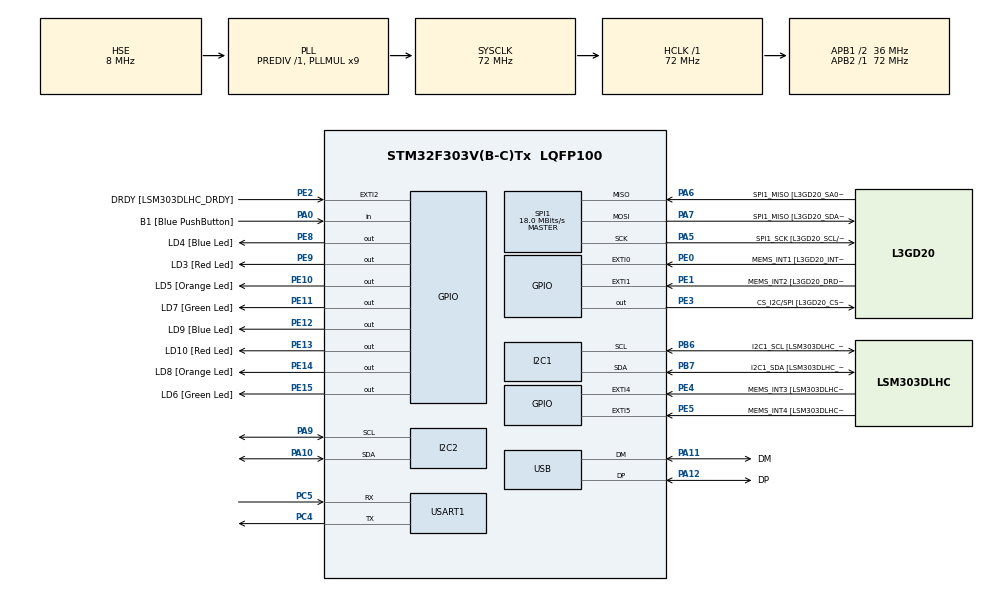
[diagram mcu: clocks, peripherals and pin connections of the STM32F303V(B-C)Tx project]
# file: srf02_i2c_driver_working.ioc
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I2C1.Timing-I2C=0x2000090E
Mcu.Family=STM32F3
Mcu.Name=STM32F303V(B-C)Tx
Mcu.Package=LQFP100
NVIC.PriorityGroup=NVIC_PRIORITYGROUP_0
PA0.GPIO_Label=B1 [Blue PushButton]
PA0.Signal=GPIO_Input
PA10.Mode=I2C
PA10.Signal=I2C2_SDA
PA11.GPIO_Label=DM
PA11.Mode=Device
PA11.Signal=USB_DM
PA12.GPIO_Label=DP
PA12.Mode=Device
PA12.Signal=USB_DP
PA13.GPIO_Label=SWDIO
PA13.Mode=Serial_Wire
PA13.Signal=SYS_JTMS-SWDIO
PA14.GPIO_Label=SWCLK
PA14.Mode=Serial_Wire
PA14.Signal=SYS_JTCK-SWCLK
PA5.GPIO_Label=SPI1_SCK [L3GD20_SCL/SPC]
PA5.Mode=Full_Duplex_Master
PA5.Signal=SPI1_SCK
PA6.GPIO_Label=SPI1_MISO [L3GD20_SA0/SDO]
PA6.Mode=Full_Duplex_Master
PA6.Signal=SPI1_MISO
PA7.GPIO_Label=SPI1_MISO [L3GD20_SDA/SDI/SDO]
PA7.Mode=Full_Duplex_Master
PA7.Signal=SPI1_MOSI
PA9.Mode=I2C
PA9.Signal=I2C2_SCL
PB3.GPIO_Label=SWO
PB3.Signal=SYS_JTDO-TRACESWO
PB6.GPIO_Label=I2C1_SCL [LSM303DLHC_SCL]
PB6.GPIO_Pu=GPIO_PULLUP
PB6.Mode=I2C
PB6.Signal=I2C1_SCL
PB7.GPIO_Label=I2C1_SDA [LSM303DLHC_SDA]
PB7.GPIO_Pu=GPIO_PULLUP
PB7.Mode=I2C
PB7.Signal=I2C1_SDA
PC14-OSC32_IN.GPIO_Label=OSC32_IN
PC14-OSC32_IN.Signal=RCC_OSC32_IN
PC15-OSC32_OUT.GPIO_Label=OSC32_OUT
PC15-OSC32_OUT.Signal=RCC_OSC32_OUT
PC4.Mode=Asynchronous
PC4.Signal=USART1_TX
PC5.Mode=Asynchronous
PC5.Signal=USART1_RX
PE0.GPIO_Label=MEMS_INT1 [L3GD20_INT1]
PE0.GPIO_ModeDefaultEXTI=GPIO_MODE_EVT_RISING
PE0.Signal=GPXTI0
PE1.GPIO_Label=MEMS_INT2 [L3GD20_DRDY/INT2]
PE1.GPIO_ModeDefaultEXTI=GPIO_MODE_EVT_RISING
PE1.Signal=GPXTI1
PE10.GPIO_Label=LD5 [Orange Led]
PE10.Signal=GPIO_Output
PE11.GPIO_Label=LD7 [Green Led]
PE11.Signal=GPIO_Output
PE12.GPIO_Label=LD9 [Blue Led]
PE12.Signal=GPIO_Output
PE13.GPIO_Label=LD10 [Red Led]
PE13.Signal=GPIO_Output
PE14.GPIO_Label=LD8 [Orange Led]
PE14.Signal=GPIO_Output
PE15.GPIO_Label=LD6 [Green Led]
PE15.Signal=GPIO_Output
PE2.GPIO_Label=DRDY [LSM303DLHC_DRDY]
PE2.GPIO_ModeDefaultEXTI=GPIO_MODE_EVT_RISING
PE2.Signal=GPXTI2
PE3.GPIO_Label=CS_I2C/SPI [L3GD20_CS_I2C/SPI]
PE3.Signal=GPIO_Output
PE4.GPIO_Label=MEMS_INT3 [LSM303DLHC_INT1]
PE4.GPIO_ModeDefaultEXTI=GPIO_MODE_EVT_RISING
PE4.Signal=GPXTI4
PE5.GPIO_Label=MEMS_INT4 [LSM303DLHC_INT2]
PE5.GPIO_ModeDefaultEXTI=GPIO_MODE_EVT_RISING
PE5.Signal=GPXTI5
PE8.GPIO_Label=LD4 [Blue Led]
PE8.Signal=GPIO_Output
PE9.GPIO_Label=LD3 [Red Led]
PE9.Signal=GPIO_Output
PF0-OSC_IN.GPIO_Label=OSC_IN
PF0-OSC_IN.Mode=HSE-External-Clock-Source
PF0-OSC_IN.Signal=RCC_OSC_IN
PF1-OSC_OUT.GPIO_Label=OSC_OUT
PF1-OSC_OUT.Signal=RCC_OSC_OUT
ProjectManager.HeapSize=0x200
ProjectManager.StackSize=0x400
ProjectManager.TargetToolchain=STM32CubeIDE
RCC.AHBFreq_Value=72000000
RCC.APB1CLKDivider=RCC_HCLK_DIV2
RCC.APB1Freq_Value=36000000
RCC.APB1TimFreq_Value=72000000
RCC.APB2Freq_Value=72000000
RCC.APB2TimFreq_Value=72000000
RCC.CortexFreq_Value=72000000
RCC.HCLKFreq_Value=72000000
RCC.HSE_VALUE=8000000
RCC.HSI_VALUE=8000000
RCC.LSE_VALUE=32768
RCC.PLLMUL=RCC_PLL_MUL9
RCC.PRESCALERUSB=RCC_USBCLKSOURCE_PLL_DIV1_5
RCC.SYSCLKFreq_VALUE=72000000
RCC.SYSCLKSourceVirtual=RCC_SYSCLKSOURCE_PLLCLK
RCC.USBFreq_Value=48000000
SPI1.BaudRatePrescaler=SPI_BAUDRATEPRESCALER_4
SPI1.BaudRatePrescaler-Full_Duplex_Master=SPI_BAUDRATEPRESCALER_2
SPI1.CalculateBaudRate=18.0 MBits/s
SPI1.CalculateBaudRate-Full_Duplex_Master=24.0 MBits/s
SPI1.Direction=SPI_DIRECTION_2LINES
SPI1.Mode=SPI_MODE_MASTER
SPI1.Mode-Full_Duplex_Master=SPI_MODE_MASTER
SPI1.VirtualType=VM_MASTER
USART1.VirtualMode-Asynchronous=VM_ASYNC
board=STM32F3DISCOVERY

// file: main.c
/* USER CODE BEGIN Header */
/**
  ******************************************************************************
  * @file           : main.c
  * @brief          : Main program body
  ******************************************************************************
  * @attention
  *
  * Copyright (c) 2023 STMicroelectronics.
  * All rights reserved.
  *
  * This software is licensed under terms that can be found in the LICENSE file
  * in the root directory of this software component.
  * If no LICENSE file comes with this software, it is provided AS-IS.
  *
  ******************************************************************************
  */
/* USER CODE END Header */
#include "main.h"

/* USER CODE BEGIN Includes */
#include <string.h>
#include <stdio.h>
/* USER CODE END Includes */

I2C_HandleTypeDef hi2c1;
I2C_HandleTypeDef hi2c2;

SPI_HandleTypeDef hspi1;

UART_HandleTypeDef huart1;

PCD_HandleTypeDef hpcd_USB_FS;

/* USER CODE BEGIN PV */
static const uint8_t SRF02_ADDR = 0xE4; // 7 bit address as it is E0 in 8 bits
static const uint8_t COMMAND_REG = 0x00;
static const uint8_t RANGE_REG_1 = 0x02;
static const uint8_t RANGE_REG_2 = 0x03;
const uint8_t COMMAND = 0x51;

/* USER CODE END PV */

void SystemClock_Config(void);
static void MX_GPIO_Init(void);
static void MX_I2C1_Init(void);
static void MX_SPI1_Init(void);
static void MX_USB_PCD_Init(void);
static void MX_I2C2_Init(void);
static void MX_USART1_UART_Init(void);

int main(void)
{
  /* USER CODE BEGIN 1 */
	HAL_StatusTypeDef ret;
	uint16_t val;
	uint8_t buf[12];
	uint8_t buf_2[10];
	uint8_t buf_3[10];

	float range;

  /* USER CODE END 1 */

  /* MCU Configuration--------------------------------------------------------*/

  /* Reset of all peripherals, Initializes the Flash interface and the Systick. */
  HAL_Init();

  /* Configure the system clock */
  SystemClock_Config();

  /* Initialize all configured peripherals */
  MX_GPIO_Init();
  MX_I2C1_Init();
  MX_SPI1_Init();
  MX_USB_PCD_Init();
  MX_I2C2_Init();
  MX_USART1_UART_Init();

  /* Infinite loop */
  /* USER CODE BEGIN WHILE */
  while (1)
  {
	  buf_2[0] = COMMAND;
	  ret = HAL_I2C_Mem_Write(&hi2c2, SRF02_ADDR, COMMAND_REG, 1 , buf_2, 1 ,HAL_MAX_DELAY);
	  HAL_Delay(60);
	  if( ret != HAL_OK)
	  {
		  strcpy((char*)buf, "Error Tx\r\n");

	  }
	  else
	  {
		  ret = HAL_I2C_Mem_Read(&hi2c2, SRF02_ADDR, RANGE_REG_1,1,buf, 2, HAL_MAX_DELAY);
		  //ret = HAL_I2C_Mem_Read(&hi2c2, SRF02_ADDR, RANGE_REG_2,1,buf_3, 1, HAL_MAX_DELAY);
		  if ( ret != HAL_OK)
		  {
			  strcpy((char*)buf, "Error Rx\r\n");

		  }
		  else
		  {
			  val = ((uint16_t)buf[0] << 8) | buf[1];
		  }

		  val  = val *100;
		  range = val;
		  sprintf((char*)buf, "%u.%u cm\r\n",((unsigned int)range/100),((unsigned int)range % 100));
	  }
	  HAL_UART_Transmit(&huart1, buf, strlen((char*)buf), HAL_MAX_DELAY);

	      // Wait
	      HAL_Delay(200);

    /* USER CODE END WHILE */

  }
}

void SystemClock_Config(void)
{
  RCC_OscInitTypeDef RCC_OscInitStruct = {0};
  RCC_ClkInitTypeDef RCC_ClkInitStruct = {0};
  RCC_PeriphCLKInitTypeDef PeriphClkInit = {0};

  /** Initializes the RCC Oscillators according to the specified parameters
  * in the RCC_OscInitTypeDef structure.
  */
  RCC_OscInitStruct.OscillatorType = RCC_OSCILLATORTYPE_HSI|RCC_OSCILLATORTYPE_HSE;
  RCC_OscInitStruct.HSEState = RCC_HSE_BYPASS;
  RCC_OscInitStruct.HSEPredivValue = RCC_HSE_PREDIV_DIV1;
  RCC_OscInitStruct.HSIState = RCC_HSI_ON;
  RCC_OscInitStruct.HSICalibrationValue = RCC_HSICALIBRATION_DEFAULT;
  RCC_OscInitStruct.PLL.PLLState = RCC_PLL_ON;
  RCC_OscInitStruct.PLL.PLLSource = RCC_PLLSOURCE_HSE;
  RCC_OscInitStruct.PLL.PLLMUL = RCC_PLL_MUL9;
  if (HAL_RCC_OscConfig(&RCC_OscInitStruct) != HAL_OK)
  {
    Error_Handler();
  }

  /** Initializes the CPU, AHB and APB buses clocks
  */
  RCC_ClkInitStruct.ClockType = RCC_CLOCKTYPE_HCLK|RCC_CLOCKTYPE_SYSCLK
                              |RCC_CLOCKTYPE_PCLK1|RCC_CLOCKTYPE_PCLK2;
  RCC_ClkInitStruct.SYSCLKSource = RCC_SYSCLKSOURCE_PLLCLK;
  RCC_ClkInitStruct.AHBCLKDivider = RCC_SYSCLK_DIV1;
  RCC_ClkInitStruct.APB1CLKDivider = RCC_HCLK_DIV2;
  RCC_ClkInitStruct.APB2CLKDivider = RCC_HCLK_DIV1;

  if (HAL_RCC_ClockConfig(&RCC_ClkInitStruct, FLASH_LATENCY_2) != HAL_OK)
  {
    Error_Handler();
  }
  PeriphClkInit.PeriphClockSelection = RCC_PERIPHCLK_USB|RCC_PERIPHCLK_USART1
                              |RCC_PERIPHCLK_I2C1|RCC_PERIPHCLK_I2C2;
  PeriphClkInit.Usart1ClockSelection = RCC_USART1CLKSOURCE_PCLK2;
  PeriphClkInit.I2c1ClockSelection = RCC_I2C1CLKSOURCE_HSI;
  PeriphClkInit.I2c2ClockSelection = RCC_I2C2CLKSOURCE_HSI;
  PeriphClkInit.USBClockSelection = RCC_USBCLKSOURCE_PLL_DIV1_5;
  if (HAL_RCCEx_PeriphCLKConfig(&PeriphClkInit) != HAL_OK)
  {
    Error_Handler();
  }
}

static void MX_I2C1_Init(void)
{

  hi2c1.Instance = I2C1;
  hi2c1.Init.Timing = 0x2000090E;
  hi2c1.Init.OwnAddress1 = 0;
  hi2c1.Init.AddressingMode = I2C_ADDRESSINGMODE_7BIT;
  hi2c1.Init.DualAddressMode = I2C_DUALADDRESS_DISABLE;
  hi2c1.Init.OwnAddress2 = 0;
  hi2c1.Init.OwnAddress2Masks = I2C_OA2_NOMASK;
  hi2c1.Init.GeneralCallMode = I2C_GENERALCALL_DISABLE;
  hi2c1.Init.NoStretchMode = I2C_NOSTRETCH_DISABLE;
  if (HAL_I2C_Init(&hi2c1) != HAL_OK)
  {
    Error_Handler();
  }

  /** Configure Analogue filter
  */
  if (HAL_I2CEx_ConfigAnalogFilter(&hi2c1, I2C_ANALOGFILTER_ENABLE) != HAL_OK)
  {
    Error_Handler();
  }

  /** Configure Digital filter
  */
  if (HAL_I2CEx_ConfigDigitalFilter(&hi2c1, 0) != HAL_OK)
  {
    Error_Handler();
  }

}

static void MX_I2C2_Init(void)
{

  hi2c2.Instance = I2C2;
  hi2c2.Init.Timing = 0x2000090E;
  hi2c2.Init.OwnAddress1 = 0;
  hi2c2.Init.AddressingMode = I2C_ADDRESSINGMODE_7BIT;
  hi2c2.Init.DualAddressMode = I2C_DUALADDRESS_DISABLE;
  hi2c2.Init.OwnAddress2 = 0;
  hi2c2.Init.OwnAddress2Masks = I2C_OA2_NOMASK;
  hi2c2.Init.GeneralCallMode = I2C_GENERALCALL_DISABLE;
  hi2c2.Init.NoStretchMode = I2C_NOSTRETCH_DISABLE;
  if (HAL_I2C_Init(&hi2c2) != HAL_OK)
  {
    Error_Handler();
  }

  /** Configure Analogue filter
  */
  if (HAL_I2CEx_ConfigAnalogFilter(&hi2c2, I2C_ANALOGFILTER_ENABLE) != HAL_OK)
  {
    Error_Handler();
  }

  /** Configure Digital filter
  */
  if (HAL_I2CEx_ConfigDigitalFilter(&hi2c2, 0) != HAL_OK)
  {
    Error_Handler();
  }

}

static void MX_SPI1_Init(void)
{

  /* SPI1 parameter configuration*/
  hspi1.Instance = SPI1;
  hspi1.Init.Mode = SPI_MODE_MASTER;
  hspi1.Init.Direction = SPI_DIRECTION_2LINES;
  hspi1.Init.DataSize = SPI_DATASIZE_4BIT;
  hspi1.Init.CLKPolarity = SPI_POLARITY_LOW;
  hspi1.Init.CLKPhase = SPI_PHASE_1EDGE;
  hspi1.Init.NSS = SPI_NSS_SOFT;
  hspi1.Init.BaudRatePrescaler = SPI_BAUDRATEPRESCALER_4;
  hspi1.Init.FirstBit = SPI_FIRSTBIT_MSB;
  hspi1.Init.TIMode = SPI_TIMODE_DISABLE;
  hspi1.Init.CRCCalculation = SPI_CRCCALCULATION_DISABLE;
  hspi1.Init.CRCPolynomial = 7;
  hspi1.Init.CRCLength = SPI_CRC_LENGTH_DATASIZE;
  hspi1.Init.NSSPMode = SPI_NSS_PULSE_ENABLE;
  if (HAL_SPI_Init(&hspi1) != HAL_OK)
  {
    Error_Handler();
  }

}

static void MX_USART1_UART_Init(void)
{

  huart1.Instance = USART1;
  huart1.Init.BaudRate = 38400;
  huart1.Init.WordLength = UART_WORDLENGTH_8B;
  huart1.Init.StopBits = UART_STOPBITS_1;
  huart1.Init.Parity = UART_PARITY_NONE;
  huart1.Init.Mode = UART_MODE_TX_RX;
  huart1.Init.HwFlowCtl = UART_HWCONTROL_NONE;
  huart1.Init.OverSampling = UART_OVERSAMPLING_16;
  huart1.Init.OneBitSampling = UART_ONE_BIT_SAMPLE_DISABLE;
  huart1.AdvancedInit.AdvFeatureInit = UART_ADVFEATURE_NO_INIT;
  if (HAL_UART_Init(&huart1) != HAL_OK)
  {
    Error_Handler();
  }

}

static void MX_USB_PCD_Init(void)
{

  hpcd_USB_FS.Instance = USB;
  hpcd_USB_FS.Init.dev_endpoints = 8;
  hpcd_USB_FS.Init.speed = PCD_SPEED_FULL;
  hpcd_USB_FS.Init.phy_itface = PCD_PHY_EMBEDDED;
  hpcd_USB_FS.Init.low_power_enable = DISABLE;
  hpcd_USB_FS.Init.battery_charging_enable = DISABLE;
  if (HAL_PCD_Init(&hpcd_USB_FS) != HAL_OK)
  {
    Error_Handler();
  }

}

static void MX_GPIO_Init(void)
{
  GPIO_InitTypeDef GPIO_InitStruct = {0};

  /* GPIO Ports Clock Enable */
  __HAL_RCC_GPIOE_CLK_ENABLE();
  __HAL_RCC_GPIOC_CLK_ENABLE();
  __HAL_RCC_GPIOF_CLK_ENABLE();
  __HAL_RCC_GPIOA_CLK_ENABLE();
  __HAL_RCC_GPIOB_CLK_ENABLE();

  /*Configure GPIO pin Output Level */
  HAL_GPIO_WritePin(GPIOE, CS_I2C_SPI_Pin|LD4_Pin|LD3_Pin|LD5_Pin
                          |LD7_Pin|LD9_Pin|LD10_Pin|LD8_Pin
                          |LD6_Pin, GPIO_PIN_RESET);

  /*Configure GPIO pins : DRDY_Pin MEMS_INT3_Pin MEMS_INT4_Pin MEMS_INT1_Pin
                           MEMS_INT2_Pin */
  GPIO_InitStruct.Pin = DRDY_Pin|MEMS_INT3_Pin|MEMS_INT4_Pin|MEMS_INT1_Pin
                          |MEMS_INT2_Pin;
  GPIO_InitStruct.Mode = GPIO_MODE_EVT_RISING;
  GPIO_InitStruct.Pull = GPIO_NOPULL;
  HAL_GPIO_Init(GPIOE, &GPIO_InitStruct);

  /*Configure GPIO pins : CS_I2C_SPI_Pin LD4_Pin LD3_Pin LD5_Pin
                           LD7_Pin LD9_Pin LD10_Pin LD8_Pin
                           LD6_Pin */
  GPIO_InitStruct.Pin = CS_I2C_SPI_Pin|LD4_Pin|LD3_Pin|LD5_Pin
                          |LD7_Pin|LD9_Pin|LD10_Pin|LD8_Pin
                          |LD6_Pin;
  GPIO_InitStruct.Mode = GPIO_MODE_OUTPUT_PP;
  GPIO_InitStruct.Pull = GPIO_NOPULL;
  GPIO_InitStruct.Speed = GPIO_SPEED_FREQ_LOW;
  HAL_GPIO_Init(GPIOE, &GPIO_InitStruct);

  /*Configure GPIO pin : B1_Pin */
  GPIO_InitStruct.Pin = B1_Pin;
  GPIO_InitStruct.Mode = GPIO_MODE_INPUT;
  GPIO_InitStruct.Pull = GPIO_NOPULL;
  HAL_GPIO_Init(B1_GPIO_Port, &GPIO_InitStruct);

}

void Error_Handler(void)
{
  __disable_irq();
  while (1)
  {
  }
}
